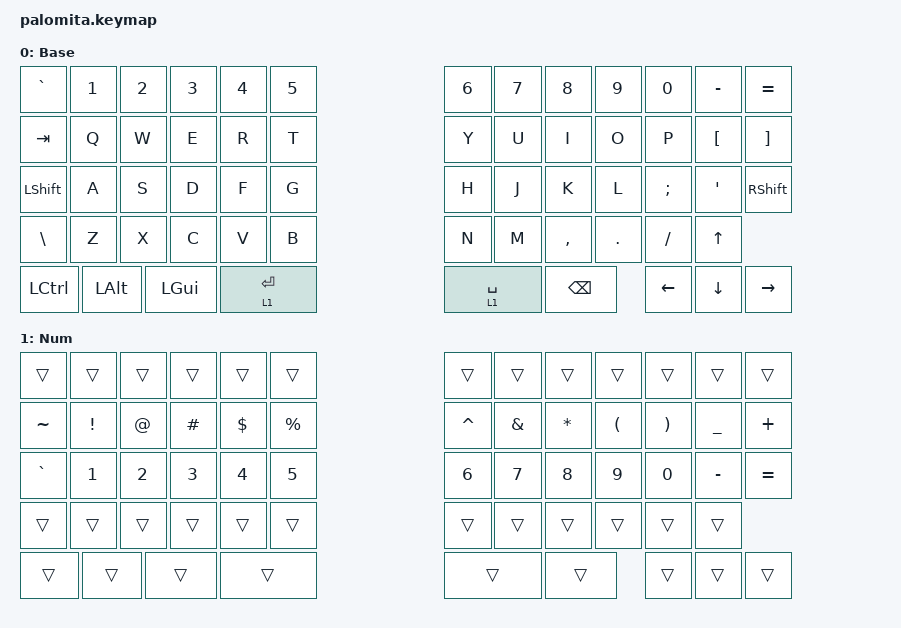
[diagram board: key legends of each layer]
/*
 * SPDX-License-Identifier: MIT
 */

#include <behaviors.dtsi>
#include <dt-bindings/zmk/keys.h>

/ {
    behaviors {
        lt_spc: layer_tap_space {
            compatible = "zmk,behavior-hold-tap";
            #binding-cells = <2>;
            flavor = "hold-preferred";
            tapping-term-ms = <200>;
            retro-tap;
            bindings = <&mo>, <&kp>;
        };
    };

    combos {
        compatible = "zmk,combos";

        combo_esc {
            timeout-ms = <50>;
            key-positions = <28 29>;
            bindings = <&kp ESC>;
            layers = <0>;
        };
    };

    keymap {
        compatible = "zmk,keymap";

        base_layer {
            display-name = "Base";
            bindings = <
&kp GRAVE  &kp N1     &kp N2     &kp N3     &kp N4     &kp N5                    &kp N6     &kp N7     &kp N8     &kp N9     &kp N0     &kp MINUS  &kp EQUAL
&kp TAB    &kp Q      &kp W      &kp E      &kp R      &kp T                     &kp Y      &kp U      &kp I      &kp O      &kp P      &kp LBKT   &kp RBKT
&kp LSHFT  &kp A      &kp S      &kp D      &kp F      &kp G                     &kp H      &kp J      &kp K      &kp L      &kp SEMI   &kp SQT    &kp RSHFT
&kp BSLH   &kp Z      &kp X      &kp C      &kp V      &kp B                     &kp N      &kp M      &kp COMMA  &kp DOT    &kp FSLH   &kp UP
&kp LCTRL  &kp LALT   &kp LGUI   &lt_spc 1 RET                                  &lt_spc 1 SPACE  &kp BSPC   &kp LEFT   &kp DOWN   &kp RIGHT
            >;
        };

        num_layer {
            display-name = "Num";
            bindings = <
&trans     &trans     &trans     &trans     &trans     &trans                    &trans     &trans     &trans     &trans     &trans     &trans     &trans
&kp TILDE  &kp EXCL   &kp AT     &kp HASH   &kp DOLLAR &kp PRCNT                 &kp CARET  &kp AMPS   &kp STAR   &kp LPAR   &kp RPAR   &kp UNDER  &kp PLUS
&kp GRAVE  &kp N1     &kp N2     &kp N3     &kp N4     &kp N5                    &kp N6     &kp N7     &kp N8     &kp N9     &kp N0     &kp MINUS  &kp EQUAL
&trans     &trans     &trans     &trans     &trans     &trans                    &trans     &trans     &trans     &trans     &trans     &trans
&trans     &trans     &trans     &trans                                         &trans     &trans     &trans     &trans     &trans
            >;
        };
    };
};
